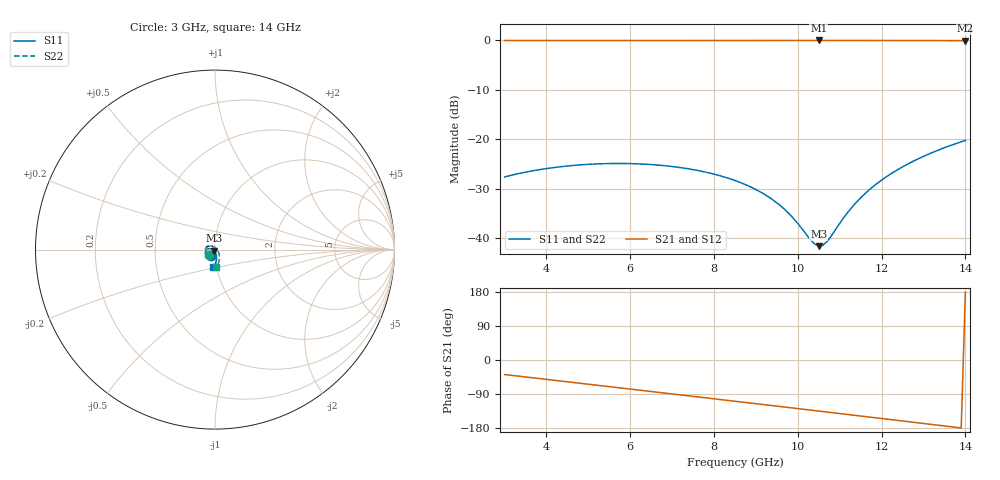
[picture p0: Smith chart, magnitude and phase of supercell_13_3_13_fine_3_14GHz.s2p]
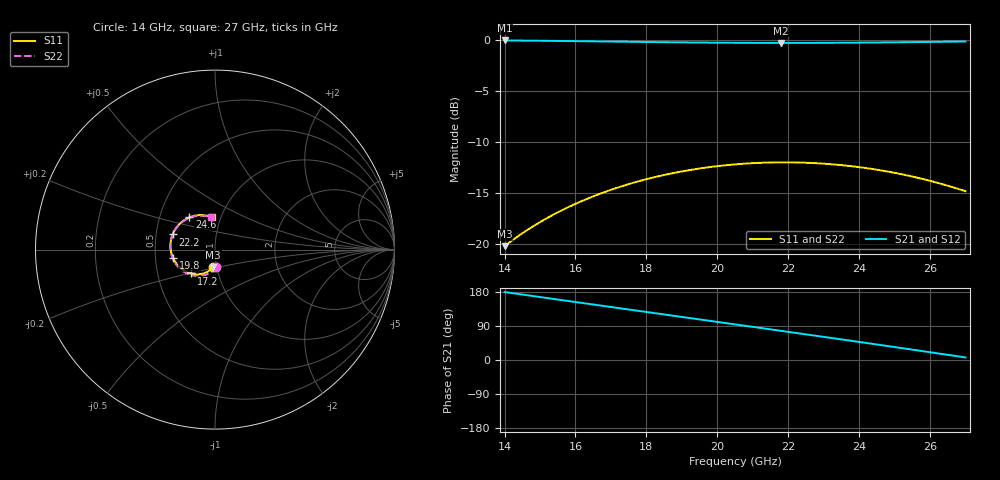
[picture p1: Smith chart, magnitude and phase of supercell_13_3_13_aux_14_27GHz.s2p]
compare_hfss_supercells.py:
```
#!/usr/bin/env python3
"""Compare measured HFSS supercells over 3--27 GHz.

The verified 13-3-13 and 16-2-16 exports are required.  The paper-baseline
15-4-15 result is included automatically when both of its exports are present.
The script performs overlap, reciprocity, passivity, transmission, reflection,
phase, group-delay, and linear three-wave-mixing phase-mismatch checks.
"""

from __future__ import annotations

import csv
import json
import sys
from pathlib import Path

import matplotlib

matplotlib.use("Agg")
import matplotlib.pyplot as plt
import numpy as np

ROOT = Path(__file__).resolve().parents[1]
sys.path[:0] = [str(ROOT / "code"), str(ROOT / "scripts")]

from analyze_hfss_supercell import read_touchstone  # noqa: E402
from hfss_bloch import extract_bloch_parameters  # noqa: E402


PATTERNS = {
    "13-3-13": {
        "fine": "supercell_13_3_13_fine_3_14GHz.s2p",
        "aux": "supercell_13_3_13_aux_14_27GHz.s2p",
        "cells": 29,
        "length_um": 58.0,
        "required": True,
    },
    "16-2-16": {
        "fine": "supercell_16_2_16_fine_3_14GHz.s2p",
        "aux": "supercell_16_2_16_aux_14_27GHz.s2p",
        "cells": 34,
        "length_um": 68.0,
        "required": True,
    },
    "15-4-15": {
        "fine": "supercell_15_4_15_fine_3_14GHz.s2p",
        "aux": "supercell_15_4_15_aux_14_27GHz.s2p",
        "cells": 34,
        "length_um": 68.0,
        "required": False,
    },
}

BANDS = {
    "signal_4_8_GHz": (4.0, 8.0),
    "pump_12p6_13p0_GHz": (12.6, 13.0),
    "sum_products_16p7_21p4_GHz": (16.7, 21.4),
    "second_pump_25_26_GHz": (25.0, 26.0),
}

PUMP_GHZ = 12.8
SIGNAL_GHZ = np.arange(4.0, 8.0001, 0.05)


def db(values: np.ndarray) -> np.ndarray:
    return 20 * np.log10(np.maximum(np.abs(values), np.finfo(float).tiny))


def join_sweeps(fine_path: Path, aux_path: Path) -> tuple[np.ndarray, np.ndarray, float]:
    f1, s1 = read_touchstone(fine_path)
    f2, s2 = read_touchstone(aux_path)
    if not np.isclose(f1[-1], f2[0]):
        raise ValueError(f"Sweep endpoints do not overlap: {f1[-1]} vs {f2[0]} GHz")
    overlap_error = float(np.max(np.abs(s1[-1] - s2[0])))
    return np.concatenate((f1, f2[1:])), np.concatenate((s1, s2[1:]), axis=0), overlap_error


def metrics(f: np.ndarray, s: np.ndarray, length_um: float, overlap_error: float) -> dict[str, object]:
    s11, s21, s12, s22 = s[:, 0, 0], s[:, 1, 0], s[:, 0, 1], s[:, 1, 1]
    bloch_phase = extract_bloch_parameters(s).phase
    group_delay = np.gradient(bloch_phase, f * 1e9) / (2 * np.pi)
    singular_max = np.array([np.linalg.svd(matrix, compute_uv=False)[0] for matrix in s])
    result: dict[str, object] = {
        "overlap_max_complex_error": overlap_error,
        "reciprocity_max_complex_error": float(np.max(np.abs(s21 - s12))),
        "maximum_singular_value": float(np.max(singular_max)),
        "passivity_excess": float(max(0.0, np.max(singular_max) - 1.0)),
        "median_group_delay_ps": float(np.median(group_delay) * 1e12),
        "median_delay_ps_per_mm": float(np.median(group_delay) * 1e12 / (length_um / 1000.0)),
    }
    for name, (low, high) in BANDS.items():
        mask = (f >= low) & (f <= high)
        result[name] = {
            "S21_min_dB": float(np.min(db(s21[mask]))),
            "S21_max_dB": float(np.max(db(s21[mask]))),
            "S11_max_dB": float(np.max(db(s11[mask]))),
            "S22_max_dB": float(np.max(db(s22[mask]))),
        }
    return result


def main() -> None:
    inputs = ROOT / "hfss_inputs"
    output = ROOT / "results" / "bloch_corrected" / "step_21_hfss_pattern_comparison"
    output.mkdir(parents=True, exist_ok=True)

    missing_required = [
        inputs / str(config[key])
        for config in PATTERNS.values()
        if bool(config["required"])
        for key in ("fine", "aux")
        if not (inputs / str(config[key])).exists()
    ]
    if missing_required:
        names = "\n".join(f"  - {path}" for path in missing_required)
        raise SystemExit(f"Missing HFSS export(s):\n{names}\nExport/copy them and rerun this script.")

    available_patterns = {
        label: config
        for label, config in PATTERNS.items()
        if all((inputs / str(config[key])).exists() for key in ("fine", "aux"))
    }
    skipped_patterns = [label for label in PATTERNS if label not in available_patterns]

    data: dict[str, dict[str, object]] = {}
    assessment: dict[str, object] = {
        "status": "physical_HFSS_supercell_comparison",
        "bands": BANDS,
        "available_patterns": list(available_patterns),
        "skipped_patterns_missing_exports": skipped_patterns,
        "patterns": {},
    }
    for label, config in available_patterns.items():
        f, s, overlap = join_sweeps(inputs / str(config["fine"]), inputs / str(config["aux"]))
        phase = extract_bloch_parameters(s).phase
        delay = np.gradient(phase, f * 1e9) / (2 * np.pi)
        data[label] = {"f": f, "s": s, "phase": phase, "delay": delay}
        assessment["patterns"][label] = metrics(f, s, float(config["length_um"]), overlap)

        k_per_mm = phase / (float(config["length_um"]) / 1000.0)
        signal_k = np.interp(SIGNAL_GHZ, f, k_per_mm)
        idler_k = np.interp(PUMP_GHZ - SIGNAL_GHZ, f, k_per_mm)
        pump_k = float(np.interp(PUMP_GHZ, f, k_per_mm))
        mismatch = pump_k - signal_k - idler_k
        data[label]["phase_mismatch"] = mismatch
        assessment["patterns"][label]["linear_3wm_phase_mismatch_at_12p8_GHz"] = {
            "definition": "k_p-k_s-k_i in rad/mm, with f_i=f_p-f_s",
            "minimum_rad_per_mm": float(np.min(mismatch)),
            "maximum_rad_per_mm": float(np.max(mismatch)),
            "mean_absolute_rad_per_mm": float(np.mean(np.abs(mismatch))),
            "peak_to_peak_rad_per_mm": float(np.ptp(mismatch)),
        }

    (output / "01_assessment.json").write_text(json.dumps(assessment, indent=2) + "\n")

    common_f = np.arange(3.0, 27.0001, 0.05)
    rows: list[list[float]] = []
    interpolated: dict[str, dict[str, np.ndarray]] = {}
    for label, config in available_patterns.items():
        item = data[label]
        f, s = np.asarray(item["f"]), np.asarray(item["s"])
        phase, delay = np.asarray(item["phase"]), np.asarray(item["delay"])
        interpolated[label] = {
            "s11": np.interp(common_f, f, db(s[:, 0, 0])),
            "s21": np.interp(common_f, f, db(s[:, 1, 0])),
            "phase_per_mm": np.interp(common_f, f, phase) / (float(config["length_um"]) / 1000.0),
            "delay_per_mm": np.interp(common_f, f, delay * 1e12) / (float(config["length_um"]) / 1000.0),
        }
    csv_fields = ["frequency_GHz"]
    for label in available_patterns:
        csv_fields.extend(
            [
                f"S11_{label.replace('-', '_')}_dB",
                f"S21_{label.replace('-', '_')}_dB",
                f"bloch_phase_{label.replace('-', '_')}_rad_per_mm",
                f"group_delay_{label.replace('-', '_')}_ps_per_mm",
            ]
        )
    for index, frequency in enumerate(common_f):
        row = [frequency]
        for label in available_patterns:
            row.extend(
                [
                    interpolated[label]["s11"][index],
                    interpolated[label]["s21"][index],
                    interpolated[label]["phase_per_mm"][index],
                    interpolated[label]["delay_per_mm"][index],
                ]
            )
        rows.append(row)
    with (output / "02_comparison.csv").open("w", newline="") as handle:
        writer = csv.writer(handle)
        writer.writerow(csv_fields)
        writer.writerows(rows)

    fig, axes = plt.subplots(4, 1, figsize=(10, 12.5))
    colors = {"13-3-13": "#1f77b4", "16-2-16": "#d62728", "15-4-15": "#2ca02c"}
    for label in available_patterns:
        axes[0].plot(common_f, interpolated[label]["s21"], label=label, color=colors[label])
        axes[1].plot(common_f, interpolated[label]["s11"], label=label, color=colors[label])
        axes[2].plot(common_f, interpolated[label]["delay_per_mm"], label=label, color=colors[label])
        axes[3].plot(
            SIGNAL_GHZ,
            np.asarray(data[label]["phase_mismatch"]),
            label=label,
            color=colors[label],
        )
    shades = [(4, 8, "signal"), (12.6, 13, "pump"), (16.7, 21.4, "ps/pi"), (25, 26, "p2")]
    for axis in axes[:3]:
        for low, high, name in shades:
            axis.axvspan(low, high, alpha=0.08, label=name if axis is axes[0] else None)
        axis.grid(True, alpha=0.3)
    axes[3].axhline(0, color="black", linestyle=":", linewidth=1)
    axes[3].grid(True, alpha=0.3)
    axes[0].set_ylabel("S21 (dB)")
    axes[1].set_ylabel("S11 (dB)")
    axes[2].set_ylabel("Group delay (ps/mm)")
    axes[2].set_xlabel("Frequency (GHz)")
    axes[3].set_ylabel("Linear 3WM mismatch (rad/mm)")
    axes[3].set_xlabel("Signal frequency (GHz), pump = 12.8 GHz")
    axes[3].legend(fontsize=8)
    axes[0].set_title("Physical HFSS supercell comparison")
    axes[0].legend(ncol=3, fontsize=8)
    fig.tight_layout()
    fig.savefig(output / "03_hfss_pattern_comparison.png", dpi=180)
    fig.savefig(output / "03_hfss_pattern_comparison.pdf")
    plt.close(fig)
    print(json.dumps(assessment, indent=2))


if __name__ == "__main__":
    main()
```
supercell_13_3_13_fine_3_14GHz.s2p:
! Touchstone file exported from HFSS 2026.1.0
!  File:  C:/Users/urbaneja/Ansys/13-3-3_super_cell.aedt
!  Generated:  09:21:28 AM Aug 12, 2026
!  Design:  HFSSDesign_Supercell_13_3_13
!  Project:  13-3-3_super_cell
!  Setup:  Setup1
!  Solution:  Sweep_fine_3_14GHz
! Variables:
!  stub_length = 12um
# GHz S MA R 50.000000
! Terminal data exported
! Port[1] = Port1
! Port[2] = Port2
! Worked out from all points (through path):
!   111 points, 3 GHz to 14 GHz, reference 50 ohm
!   highest |S21| = 0.00 dB at 10.5 GHz (marker M1); lowest = 0.0 dB at 14 GHz (marker M2)
!   group delay of S21, straight-line fit = 35.9 ps
!   lowest |S11| = -41.6 dB at 10.5 GHz (marker M3), VSWR 1.02, Z = 49.4 - j0.544 ohm
!   |S11| at or under -10 dB: start of sweep to end of sweep
!   |S22| runs from -41.6 to -20.2 dB; largest |S21 - S12| = 5.2e-05
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3  0.04161 -118.1  0.9991 -38.4  0.9991 -38.4  0.04161 -138.6
! Gamma 1.90211625812809E-31 2682.20511504638 1.71196688575315E-31 2578.88136852733
! Port Impedance 50 0 50 0
4.4  0.05308 -138.1  0.9986 -56.3  0.9986 -56.3  0.05308 -154.4
5.8  0.05689 -156.5  0.9984 -74.2  0.9984 -74.2  0.05689 -171.9
7.3  0.05092 -174.6  0.9987 -93.4  0.9987 -93.4  0.05092 167.7
8.5  0.03824 173.2  0.9993 -108.9  0.9993 -108.9  0.03824 149.1
9.5  0.02273 169.2  0.9997 -121.8  0.9997 -121.8  0.02273 127.2
10.5  0.008282 -138.3  1 -134.8  1 -134.8  0.008282 48.7
10.7  0.009261 -110.9  1 -137.4  1 -137.4  0.009261 16.1
11.4  0.02309 -77.8  0.9997 -146.5  0.9997 -146.5  0.02309 -35.3
12  0.03862 -77.0  0.9993 -154.4  0.9993 -154.4  0.03862 -51.8
14  0.09729 -95.6  0.9952 179.3  0.9953 179.3  0.09729 -85.7
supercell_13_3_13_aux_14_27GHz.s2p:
! Touchstone file exported from HFSS 2026.1.0
!  File:  C:/Users/urbaneja/Ansys/13-3-3_super_cell.aedt
!  Generated:  09:22:44 AM Aug 12, 2026
!  Design:  HFSSDesign_Supercell_13_3_13
!  Project:  13-3-3_super_cell
!  Setup:  Setup1
!  Solution:  Sweep_aux_14_27GHz
! Variables:
!  stub_length = 12um
# GHz S MA R 50.000000
! Terminal data exported
! Port[1] = Port1
! Port[2] = Port2
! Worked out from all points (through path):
!   66 points, 14 GHz to 27 GHz, reference 50 ohm
!   highest |S21| = -0.04 dB at 14 GHz (marker M1); lowest = -0.3 dB at 21.8 GHz (marker M2)
!   group delay of S21, straight-line fit = 36.7 ps
!   lowest |S11| = -20.2 dB at 14 GHz (marker M3), VSWR 1.22, Z = 48.1 - j9.41 ohm
!   |S11| at or under -10 dB: start of sweep to end of sweep
!   |S22| runs from -20.2 to -12.0 dB; largest |S21 - S12| = 0.00016
!   S11 on the Smith chart (normalised r, x): 14 GHz: 0.96, -0.19; 17.2 GHz: 0.74, -0.20; 19.8 GHz: 0.62, -0.06; 22.2 GHz: 0.61, +0.11; 24.6 GHz: 0.71, +0.27; 27 GHz: 0.91, +0.34
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14  0.09729 -95.6  0.9952 179.3  0.9953 179.3  0.09729 -85.7
! Gamma 0 12516.9952816227 0 12034.8092072632
! Port Impedance 50 0 50 0
15.6  0.1455 -115.0  0.9894 158.2  0.9894 158.2  0.1455 -108.5
17.2  0.1889 -135.2  0.982 137.2  0.982 137.2  0.1889 -130.4
18.6  0.2194 -153.1  0.9756 118.9  0.9756 118.9  0.2194 -149.2
19.8  0.238 -168.5  0.9713 103.2  0.9713 103.2  0.238 -165.2
20.6  0.246 -178.9  0.9693 92.7  0.9693 92.7  0.246 -175.8
21.8  0.2509 165.5  0.968 76.9  0.968 76.9  0.2509 168.3
22.2  0.2506 160.3  0.9681 71.6  0.9681 71.6  0.2506 163.0
24.6  0.2294 128.5  0.9733 39.6  0.9733 39.6  0.2294 130.8
25.8  0.2078 112.2  0.9782 23.3  0.9782 23.3  0.2078 114.4
27  0.1811 95.6  0.9834 6.7  0.9835 6.7  0.1811 97.8
